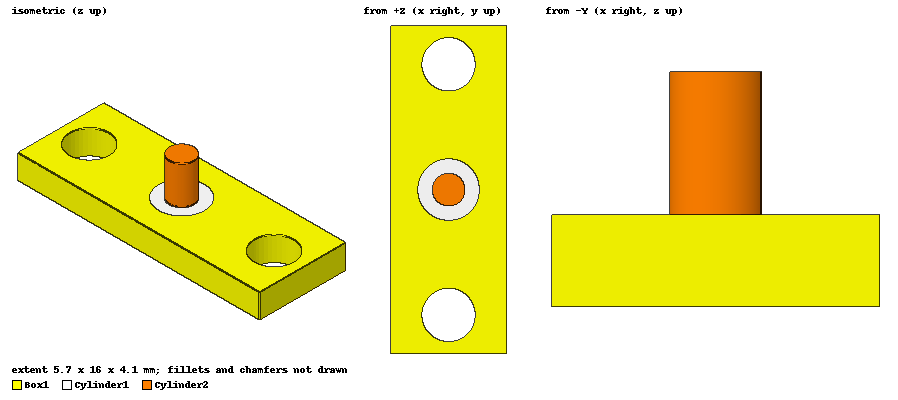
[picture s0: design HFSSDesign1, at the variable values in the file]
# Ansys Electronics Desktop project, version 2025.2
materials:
  vacuum: permittivity=1
  Teflon (tm): permittivity=2.1 dielectric_loss_tangent=0.001
  copper: permeability=0.999991 conductivity=58000000

design HFSSDesign1 (HFSS, HFSS Terminal Network, model units mm)
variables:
  base_l = 5.7mm
  base_w = 16mm
  base_h = 1.6mm
  insulator_r = 1.5mm
  conn_x = 0mm
  conn_y = 0mm
  insulator_h = 1.6mm
  probe_r = 0.8mm
  probe_h = insulator_h+2.5mm
  mount_dev = 1.89mm
  mount_r = 1.3mm
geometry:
  Box1 [copper] = box(corner=(conn_x-base_l/2, conn_y-base_w/2, -base_h), size=(base_l, base_w, base_h))
  Box1.chamfer(Edges=Box1.edge(at (2.85, 8, -0.8), at (-2.85, 8, -0.8), at (-2.85, -8, -0.8), at (2.85, -8, -0.8)) LeftDistance=1.89mm RightDistance=1.89mm ChamferType=Symmetric ChamferAdditionalGeometryInfo{ChamferEdgeGeometryInfo{ChamferEdgeID=265 ChamferEdgeSense ChamferEdgeStart{X=-2.85mm Y=-8mm Z=-1.6mm} ChamferEdgeEnd{X=-2.85mm Y=-8mm Z=0mm} ChamferEdgeMid{X=-2.85mm Y=-8mm Z=-0.8mm} ChamferEdgeMidTangent(0, 0, 1)} ChamferEdgeGeometryInfo{ChamferEdgeID=267 ChamferEdgeSense ChamferEdgeStart{X=-2.85mm Y=8mm Z=-1.6mm} ChamferEdgeEnd{X=-2.85mm Y=8mm Z=0mm} ChamferEdgeMid{X=-2.85mm Y=8mm Z=-0.8mm} ChamferEdgeMidTangent(0, 0, 1)} ChamferEdgeGeometryInfo{ChamferEdgeID=268 ChamferEdgeSense ChamferEdgeStart{X=2.85mm Y=8mm Z=-1.6mm} ChamferEdgeEnd{X=2.85mm Y=8mm Z=0mm} ChamferEdgeMid{X=2.85mm Y=8mm Z=-0.8mm} ChamferEdgeMidTangent(0, 0, 1)} ChamferEdgeGeometryInfo{ChamferEdgeID=266 ChamferEdgeSense ChamferEdgeStart{X=2.85mm Y=-8mm Z=-1.6mm} ChamferEdgeEnd{X=2.85mm Y=-8mm Z=0mm} ChamferEdgeMid{X=2.85mm Y=-8mm Z=-0.8mm} ChamferEdgeMidTangent(0, 0, 1)}})
  Cylinder1 [Teflon (tm)] = cylinder(axis=Z, base_centre=(conn_x, conn_y, -insulator_h), radius=insulator_r, height=insulator_h)
  Cylinder2 [copper] = cylinder(axis=Z, base_centre=(conn_x, conn_y, -insulator_h), radius=probe_r, height=probe_h)
  Cylinder3 = cylinder(axis=Z, base_centre=(conn_x, conn_y-base_w/2+mount_dev, -base_h), radius=mount_r, height=base_h)
  Cylinder4 = cylinder(axis=Z, base_centre=(conn_x, conn_y+base_w/2-mount_dev, -base_h), radius=mount_r, height=base_h)
  Box1.subtract(Cylinder3, Cylinder4)
